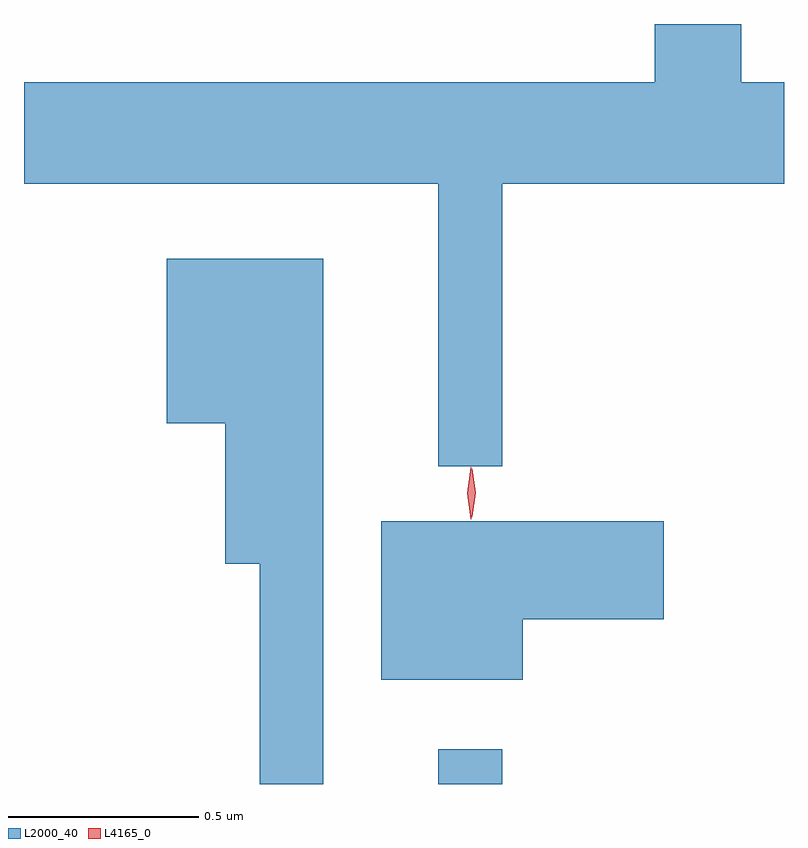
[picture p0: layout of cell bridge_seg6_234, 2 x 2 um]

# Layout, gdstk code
import gdstk
lib = gdstk.Library(unit=1e-6, precision=1e-09)
def R(c, l, rs):  # rectangles x0, y0, x1, y1
    for r in rs: c.add(gdstk.rectangle(r[:2], r[2:], *l))
def P(c, l, *ps):  # polygons
    for p in ps: c.add(gdstk.Polygon(p, *l))
L2000_40 = (2000, 40)
L4165_0 = (4165, 0)

bridge_seg6_234 = lib.new_cell('bridge_seg6_234')
R(bridge_seg6_234, L2000_40, [(1069.231,1544.017,1069.399,1544.108)])
P(bridge_seg6_234, L2000_40, [(1069.399,1545.596),(1070.141,1545.596),(1070.141,1545.864),(1070.029,1545.864),(1070.029,1546.017),(1069.801,1546.017),(1069.801,1545.864),(1068.141,1545.864),(1068.141,1545.596),(1069.231,1545.596),(1069.231,1544.853),(1069.399,1544.853)],
  [(1068.929,1545.399),(1068.516,1545.399),(1068.516,1544.966),(1068.671,1544.966),(1068.671,1544.596),(1068.761,1544.596),(1068.761,1544.017),(1068.929,1544.017)],
  [(1069.454,1544.451),(1069.824,1544.451),(1069.824,1544.709),(1069.081,1544.709),(1069.081,1544.291),(1069.454,1544.291)])
P(bridge_seg6_234, L4165_0, [(1069.32,1544.72),(1069.32,1544.72),(1069.31,1544.783),(1069.32,1544.846),(1069.32,1544.847),(1069.32,1544.846),(1069.33,1544.783),(1069.321,1544.72)],
  [(1069.317,1544.714),(1069.308,1544.782),(1069.317,1544.85),(1069.318,1544.85),(1069.318,1544.85),(1069.328,1544.782),(1069.318,1544.714),(1069.318,1544.714)])

lib.write_gds('bridge_seg6_234.gds')
